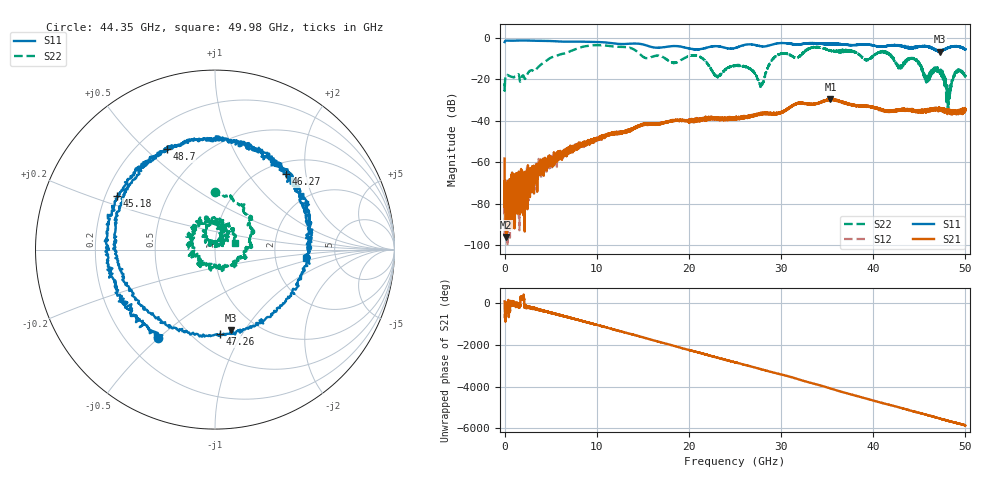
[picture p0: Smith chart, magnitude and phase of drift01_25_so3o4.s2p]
!Created with skrf (http://scikit-rf.org).
# Hz S RI R 50.0
!freq ReS11 ImS11 ReS21 ImS21 ReS12 ImS12 ReS22 ImS22
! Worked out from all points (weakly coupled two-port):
!   10001 points, 300 kHz to 50 GHz, reference 50 ohm
!   highest |S21| = -29.63 dB at 35.35 GHz (marker M1); lowest = -96.0 dB at 180.3 MHz (marker M2)
!   lowest |S11| = -6.8 dB at 47.2 GHz (marker M3), VSWR 2.70, Z = 38.1 - j43.6 ohm
!   |S11| at or under -10 dB: nowhere
!   |S22| runs from -35.9 to -3.6 dB; largest |S21 - S12| = 0.0041
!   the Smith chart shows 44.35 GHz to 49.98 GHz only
!   S11 on the Smith chart (normalised r, x): 44.35 GHz: 0.33, -0.50; 45.18 GHz: 0.25, +0.24; 46.27 GHz: 1.23, +1.56; 47.26 GHz: 0.67, -0.81; 48.7 GHz: 0.32, +0.58; 49.98 GHz: 3.03, -0.40
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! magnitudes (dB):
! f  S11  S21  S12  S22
! 300 kHz  -2.1  -58.2  -62.4  -21.9
! 180.3 MHz  -1.4  -96.0  -86.5  -18.0
! 8.335 GHz  -1.9  -51.6  -51.1  -4.5
! 16.67 GHz  -4.8  -41.7  -41.5  -8.7
! 20.97 GHz  -5.7  -39.6  -39.6  -8.8
! 23.08 GHz  -4.1  -39.3  -38.9  -18.7
! 25 GHz  -5.0  -38.5  -38.4  -13.6
! 27.84 GHz  -4.1  -36.5  -36.3  -22.9
! 29.48 GHz  -2.9  -36.6  -36.7  -8.8
! 33.34 GHz  -2.6  -32.1  -32.0  -4.8
! 35.35 GHz  -3.1  -29.6  -29.9  -6.3
! 41.67 GHz  -3.9  -35.3  -35.2  -7.7
! 42.84 GHz  -3.9  -35.0  -35.1  -13.8
! 44.35 GHz  -4.6  -35.2  -35.5  -9.8
! 45.18 GHz  -4.1  -35.2  -35.4  -13.9
! 46.27 GHz  -4.7  -34.6  -34.9  -16.2
! 47.2 GHz  -6.8  -34.2  -34.3  -15.8
! 47.26 GHz  -6.6  -34.6  -34.4  -16.6
! 48.12 GHz  -4.9  -35.4  -35.6  -35.0
! 48.7 GHz  -4.1  -36.0  -35.2  -18.9
! 49.98 GHz  -5.8  -35.4  -34.4  -18.4
! 50 GHz  -5.6  -34.4  -35.1  -18.5
